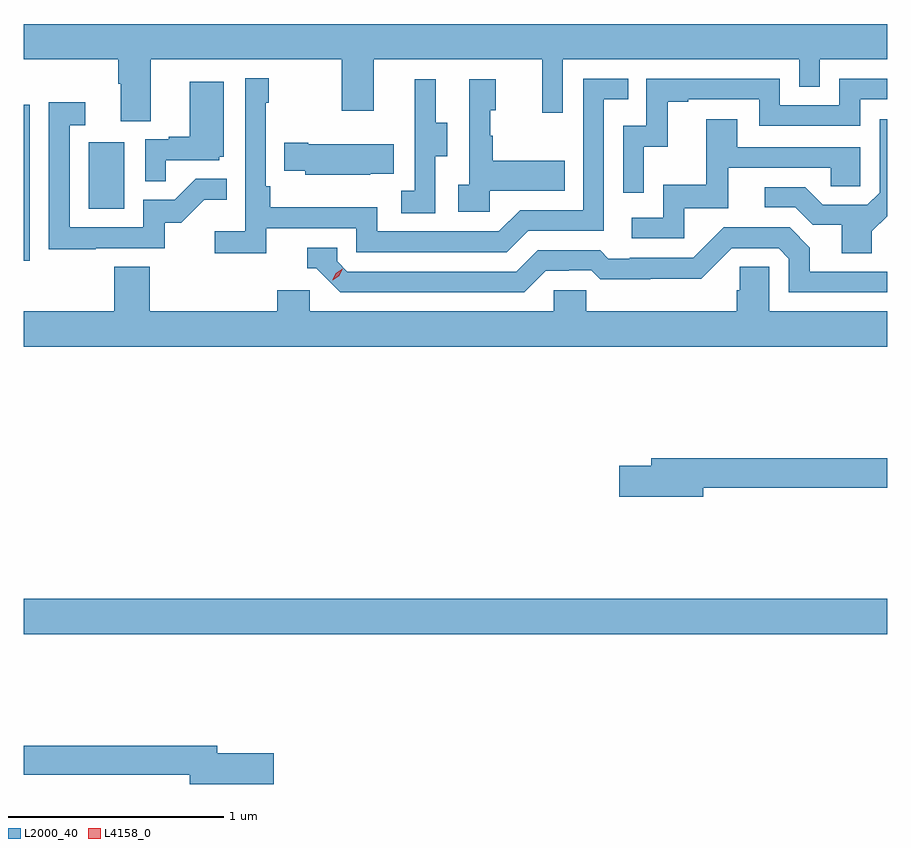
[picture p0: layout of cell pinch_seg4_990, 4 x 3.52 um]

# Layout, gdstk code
import gdstk
lib = gdstk.Library(unit=1e-6, precision=1e-09)
def R(c, l, rs):  # rectangles x0, y0, x1, y1
    for r in rs: c.add(gdstk.rectangle(r[:2], r[2:], *l))
def P(c, l, *ps):  # polygons
    for p in ps: c.add(gdstk.Polygon(p, *l))
L2000_40 = (2000, 40)
L4158_0 = (4158, 0)

pinch_seg4_990 = lib.new_cell('pinch_seg4_990')
R(pinch_seg4_990, L2000_40, [(801.493,787.496,805.493,787.66), (801.493,789.228,801.52,789.949), (801.794,789.468,801.958,789.775)])
P(pinch_seg4_990, L2000_40, [(802.081,790.16),(802.966,790.16),(802.966,789.921),(803.113,789.921),(803.113,790.16),(803.894,790.16),(803.894,789.912),(803.991,789.912),(803.991,790.16),(805.086,790.16),(805.086,790.033),(805.182,790.033),(805.182,790.16),(805.493,790.16),(805.493,790.324),(801.493,790.324),(801.493,790.16),(801.929,790.16),(801.929,790.048),(801.941,790.048),(801.941,789.874),(802.081,789.874)],
  [(802.616,789.378),(803.034,789.378),(803.034,789.267),(803.731,789.267),(803.83,789.366),(804.18,789.366),(804.18,789.975),(804.293,789.975),(804.293,790.071),(804.084,790.071),(804.084,789.462),(803.793,789.462),(803.694,789.363),(803.13,789.363),(803.13,789.475),(802.634,789.475),(802.634,789.571),(802.614,789.571),(802.614,789.959),(802.627,789.959),(802.627,790.072),(802.518,790.072),(802.518,789.364),(802.377,789.364),(802.377,789.262),(802.616,789.262)],
  [(804.366,789.755),(804.476,789.755),(804.476,789.963),(804.571,789.963),(804.571,789.975),(804.9,789.975),(804.9,789.852),(805.368,789.852),(805.368,789.975),(805.493,789.975),(805.493,790.071),(805.272,790.071),(805.272,789.948),(804.996,789.948),(804.996,790.071),(804.378,790.071),(804.378,789.852),(804.27,789.852),(804.27,789.543),(804.366,789.543)],
  [(803.652,789.551),(803.999,789.551),(803.999,789.691),(803.665,789.691),(803.665,789.806),(803.655,789.806),(803.655,789.924),(803.68,789.924),(803.68,790.069),(803.556,790.069),(803.556,789.578),(803.505,789.578),(803.505,789.453),(803.652,789.453)],
  [(803.4,789.712),(803.455,789.712),(803.455,789.867),(803.401,789.867),(803.401,790.069),(803.303,790.069),(803.303,789.855),(803.304,789.855),(803.304,789.551),(803.241,789.551),(803.241,789.448),(803.4,789.448)],
  [(802.151,789.693),(802.398,789.693),(802.398,789.708),(802.42,789.708),(802.42,790.057),(802.262,790.057),(802.262,789.802),(802.163,789.802),(802.163,789.789),(802.056,789.789),(802.056,789.595),(802.151,789.595)],
  [(801.827,789.285),(802.146,789.285),(802.146,789.402),(802.222,789.402),(802.329,789.509),(802.433,789.509),(802.433,789.608),(802.289,789.608),(802.191,789.51),(802.047,789.51),(802.047,789.381),(801.705,789.381),(801.705,789.855),(801.778,789.855),(801.778,789.961),(801.609,789.961),(801.609,789.28),(801.827,789.28)],
  [(805.423,789.364),(805.493,789.434),(805.493,789.883),(805.458,789.883),(805.458,789.543),(805.401,789.486),(805.195,789.486),(805.114,789.567),(804.927,789.567),(804.927,789.474),(805.068,789.474),(805.148,789.394),(805.283,789.394),(805.283,789.262),(805.423,789.262)],
  [(804.552,789.471),(804.757,789.471),(804.757,789.657),(805.231,789.657),(805.231,789.573),(805.368,789.573),(805.368,789.753),(804.799,789.753),(804.799,789.883),(804.655,789.883),(804.655,789.58),(804.456,789.58),(804.456,789.426),(804.309,789.426),(804.309,789.33),(804.552,789.33)],
  [(803.099,789.629),(803.207,789.629),(803.207,789.766),(802.81,789.766),(802.81,789.774),(802.699,789.774),(802.699,789.644),(802.797,789.644),(802.797,789.626),(803.099,789.626)],
  [(803.911,789.18),(804.018,789.18),(804.018,789.183),(804.121,789.183),(804.163,789.141),(804.396,789.141),(804.396,789.143),(804.632,789.143),(804.774,789.285),(804.99,789.285),(805.038,789.237),(805.038,789.081),(805.493,789.081),(805.493,789.177),(805.135,789.177),(805.135,789.287),(805.041,789.381),(804.735,789.381),(804.594,789.24),(804.301,789.24),(804.301,789.237),(804.202,789.237),(804.163,789.276),(803.874,789.276),(803.775,789.177),(802.992,789.177),(802.944,789.225),(802.944,789.288),(802.805,789.288),(802.805,789.192),(802.848,789.192),(802.959,789.081),(803.812,789.081)],
  [(805.493,788.992),(804.948,788.992),(804.948,789.2),(804.811,789.2),(804.811,789.09),(804.797,789.09),(804.797,788.992),(804.099,788.992),(804.099,789.09),(803.949,789.09),(803.949,788.992),(802.818,788.992),(802.818,789.09),(802.667,789.09),(802.667,788.992),(802.076,788.992),(802.076,789.2),(801.911,789.2),(801.911,788.992),(801.493,788.992),(801.493,788.828),(805.493,788.828)],
  [(804.64,788.176),(805.493,788.176),(805.493,788.312),(804.401,788.312),(804.401,788.276),(804.252,788.276),(804.252,788.134),(804.64,788.134)],
  [(802.651,786.944),(802.39,786.944),(802.39,786.98),(801.493,786.98),(801.493,786.844),(802.262,786.844),(802.262,786.802),(802.651,786.802)])
P(pinch_seg4_990, L4158_0, [(802.923,789.137),(802.923,789.138),(802.939,789.17),(802.97,789.189),(802.97,789.189),(802.97,789.189),(802.954,789.157),(802.923,789.137)])

lib.write_gds('pinch_seg4_990.gds')
